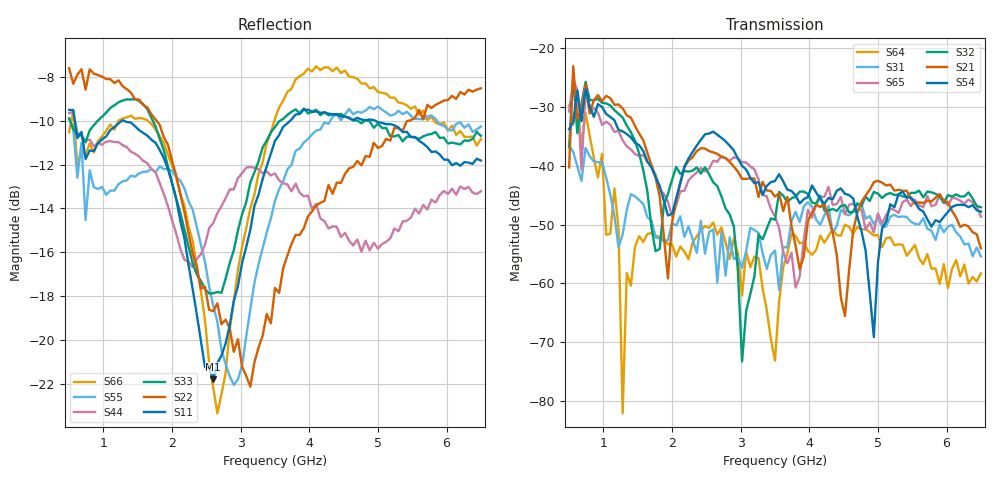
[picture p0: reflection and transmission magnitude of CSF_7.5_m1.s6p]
!Keysight Technologies,M9804A,MY58100912,A.14.10.03
!Date: Thursday, April 27, 2023 10:28:33
!Correction: S11(C  6-Port  )
!S12(C  6-Port  )
!S13(C  6-Port  )
!S14(C  6-Port  )
!S15(C  6-Port  )
!S16(C  6-Port  )
!S21(C  6-Port  )
!S22(C  6-Port  )
!S23(C  6-Port  )
!S24(C  6-Port  )
!S25(C  6-Port  )
!S26(C  6-Port  )
!S31(C  6-Port  )
!S32(C  6-Port  )
!S33(C  6-Port  )
!S34(C  6-Port  )
!S35(C  6-Port  )
!S36(C  6-Port  )
!S41(C  6-Port  )
!S42(C  6-Port  )
!S43(C  6-Port  )
!S44(C  6-Port  )
!S45(C  6-Port  )
!S46(C  6-Port  )
!S51(C  6-Port  )
!S52(C  6-Port  )
!S53(C  6-Port  )
!S54(C  6-Port  )
!S55(C  6-Port  )
!S56(C  6-Port  )
!S61(C  6-Port  )
!S62(C  6-Port  )
!S63(C  6-Port  )
!S64(C  6-Port  )
!S65(C  6-Port  )
!S66(C  6-Port  )
!S6P File: Measurement: :
# Hz S  RI  R 50
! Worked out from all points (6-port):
!   101 points, 500 MHz to 6.5 GHz, reference 50 ohm
!   strongest paths, dB at 500 MHz, 2 GHz, 3.5 GHz, 5 GHz, 6.5 GHz:
!     S54: -33.8, -48.2, -42.6, -56.5, -47.8
!     S21: -40.3, -49.6, -45.3, -42.6, -54.1
!     S32: -36.9, -42.4, -49.2, -44.7, -47.0
!     S65: -30.8, -48.7, -48.6, -48.1, -48.7
!     S31: -36.6, -49.8, -54.4, -48.9, -55.4
!     S64: -29.7, -53.4, -73.1, -51.8, -58.3
!   lowest |S11| = -21.8 dB at 2.6 GHz (marker M1), VSWR 1.18, Z = 42.7 + j1.97 ohm
!   |S11| at or under -10 dB: 582.7 MHz to 1.272 GHz (688.8 MHz wide, 74.3 % of centre); 1.295 GHz to 3.723 GHz (2.428 GHz wide, 96.8 % of centre); 4.956 GHz to end of sweep
